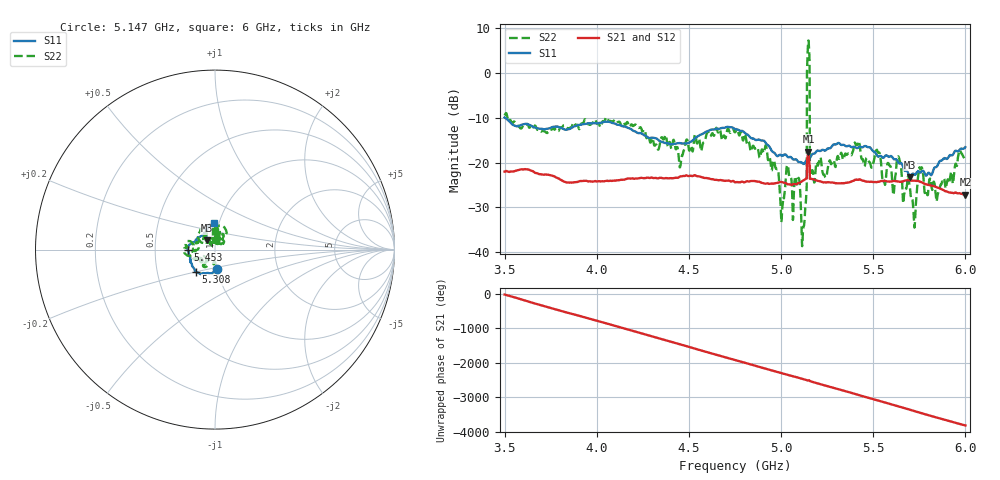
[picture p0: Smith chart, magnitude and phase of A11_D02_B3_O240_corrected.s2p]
! Created with skrf 1.9.0 (http://scikit-rf.org).
# Hz S RI R 50.0
!freq ReS11 ImS11 ReS21 ImS21 ReS12 ImS12 ReS22 ImS22
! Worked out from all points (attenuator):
!   1601 points, 3.5 GHz to 6 GHz, reference 50 ohm
!   highest |S21| = -17.55 dB at 5.148 GHz (marker M1); lowest = -27.2 dB at 6 GHz (marker M2)
!   lowest |S11| = -23.2 dB at 5.7 GHz (marker M3), VSWR 1.15, Z = 45.5 + j4.84 ohm
!   |S11| at or under -10 dB: 3.501 GHz to end of sweep
!   |S22| runs from -38.7 to 7.2 dB; largest |S21 - S12| = 0.0012
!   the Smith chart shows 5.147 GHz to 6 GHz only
!   S11 on the Smith chart (normalised r, x): 5.147 GHz: 1.00, -0.22; 5.308 GHz: 0.78, -0.20; 5.453 GHz: 0.74, -0.00; 6 GHz: 0.95, +0.29
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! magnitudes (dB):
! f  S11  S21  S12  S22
! 3.5 GHz  -10.0  -22.0  -22.0  -9.5
! 3.917 GHz  -11.5  -24.1  -24.1  -11.3
! 4.334 GHz  -15.0  -23.5  -23.5  -17.1
! 4.75 GHz  -12.5  -24.4  -24.3  -13.3
! 4.969 GHz  -18.1  -24.6  -24.6  -21.1
! 5.006 GHz  -18.5  -24.4  -24.3  -30.2
! 5.036 GHz  -18.8  -24.9  -24.8  -20.6
! 5.088 GHz  -19.6  -24.7  -24.7  -24.6
! 5.12 GHz  -20.3  -24.0  -23.9  -34.8
! 5.127 GHz  -20.3  -23.9  -23.9  -33.2
! 5.142 GHz  -19.4  -19.6  -19.6  2.3
! 5.147 GHz  -19.4  -17.6  -17.6  6.9
! 5.148 GHz  -19.4  -17.6  -17.6  7.2
! 5.167 GHz  -18.2  -23.7  -23.6  -21.8
! 5.308 GHz  -15.7  -24.7  -24.6  -18.5
! 5.453 GHz  -16.3  -24.1  -24.1  -20.8
! 5.584 GHz  -18.7  -24.2  -24.2  -20.3
! 5.7 GHz  -23.2  -24.0  -24.0  -26.0
! 5.722 GHz  -22.6  -24.0  -24.0  -33.3
! 5.756 GHz  -22.3  -24.3  -24.3  -21.6
! 5.848 GHz  -20.7  -25.6  -25.5  -27.6
! 6 GHz  -16.6  -27.2  -27.1  -19.5
